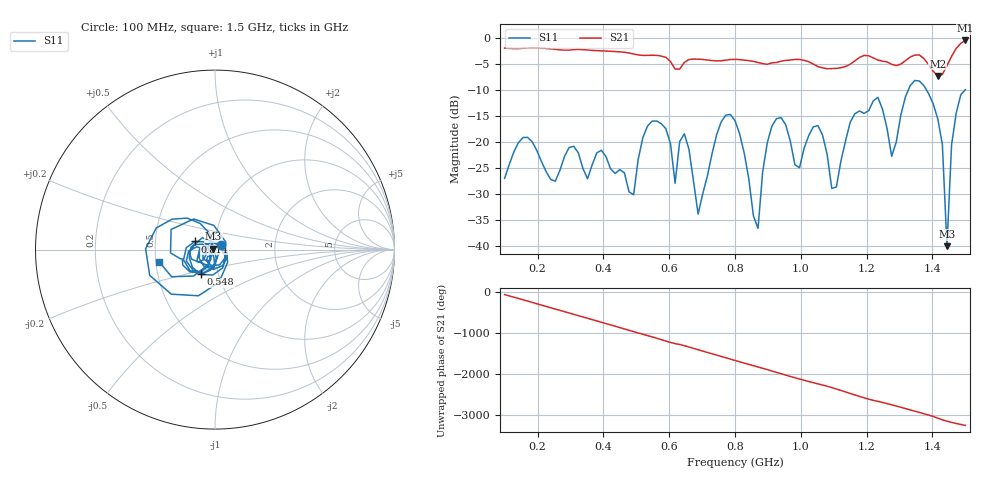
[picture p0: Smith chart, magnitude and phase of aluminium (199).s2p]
! NanoVNA-App
! Date: 2025-09-25 14:56:50
! Start: 100MHz Stop: 1,5GHz Points: 101
! S-Parameter data: F S11 S21 S12 S22
# Hz S RI R 50
!  Frequency  S11_Real  S11_Imag  S21_Real  S21_Imag  S12_Real  S12_Imag  S22_Real  S22_Imag
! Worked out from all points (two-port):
!   101 points, 100 MHz to 1.5 GHz, reference 50 ohm
!   highest |S21| = -0.47 dB at 1.5 GHz (marker M1); lowest = -7.3 dB at 1.416 GHz (marker M2)
!   |S21| within 3 dB of the highest: start of sweep to 575.3 MHz; 1.458 GHz to end of sweep (the widest 2 of 4)
!   lowest |S11| = -40.0 dB at 1.444 GHz (marker M3), VSWR 1.02, Z = 49.1 + j0.505 ohm
!   |S11| at or under -10 dB: start of sweep to 1.326 GHz; 1.382 GHz to 1.499 GHz (117.1 MHz wide, 8.13 % of centre)
!   S12 and S22 are empty: the file has one direction only
!   S11 on the Smith chart (normalised r, x): 100 MHz: 1.07, +0.06; 548 MHz: 0.82, -0.23; 814 MHz: 0.80, +0.07; 1.5 GHz: 0.52, -0.08
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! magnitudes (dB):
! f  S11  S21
! 100 MHz  -27.0  -1.9
! 338 MHz  -25.1  -2.2
! 492 MHz  -30.1  -3.1
! 548 MHz  -16.0  -3.3
! 576 MHz  -16.5  -3.5
! 618 MHz  -27.9  -6.0
! 646 MHz  -18.4  -4.7
! 688 MHz  -33.8  -4.1
! 800 MHz  -15.9  -4.1
! 814 MHz  -18.4  -4.2
! 870 MHz  -36.6  -4.7
! 912 MHz  -16.9  -4.8
! 996 MHz  -24.9  -4.1
! 1.038 GHz  -17.1  -5.0
! 1.094 GHz  -28.9  -5.9
! 1.234 GHz  -11.4  -4.2
! 1.276 GHz  -22.7  -5.1
! 1.346 GHz  -8.2  -3.3
! 1.416 GHz  -15.5  -7.3
! 1.444 GHz  -40.0  -5.3
! 1.458 GHz  -20.5  -3.5
! 1.5 GHz  -9.9  -0.5
